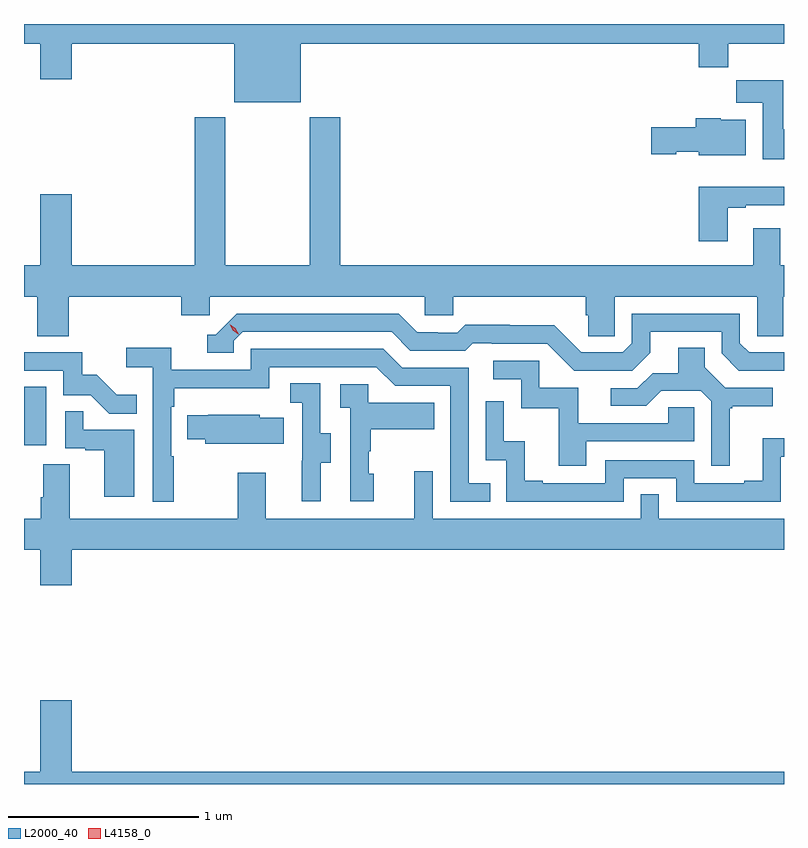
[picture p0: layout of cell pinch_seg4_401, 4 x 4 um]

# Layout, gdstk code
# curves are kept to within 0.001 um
import gdstk
lib = gdstk.Library(unit=1e-6, precision=1e-09)
def R(c, l, rs):  # rectangles x0, y0, x1, y1
    for r in rs: c.add(gdstk.rectangle(r[:2], r[2:], *l))
def P(c, l, *ps):  # polygons
    for p in ps: c.add(gdstk.Polygon(p, *l))
L2000_40 = (2000, 40)
L4158_0 = (4158, 0)

pinch_seg4_401 = lib.new_cell('pinch_seg4_401')
R(pinch_seg4_401, L2000_40, [(980.106,774.726,980.224,775.033)])
P(pinch_seg4_401, L2000_40, [(981.562,776.84),(983.657,776.84),(983.657,776.716),(983.813,776.716),(983.813,776.84),(984.106,776.84),(984.106,776.943),(980.106,776.943),(980.106,776.84),(980.192,776.84),(980.192,776.652),(980.356,776.652),(980.356,776.84),(981.212,776.84),(981.212,776.531),(981.562,776.531)],
  [(984.106,776.388),(984.103,776.388),(984.103,776.647),(983.854,776.647),(983.854,776.528),(983.993,776.528),(983.993,776.232),(984.106,776.232)],
  [(980.342,775.508),(980.933,775.508),(980.933,775.41),(981.084,775.41),(981.084,775.508),(982.215,775.508),(982.215,775.41),(982.365,775.41),(982.365,775.508),(983.063,775.508),(983.063,775.41),(983.077,775.41),(983.077,775.3),(983.214,775.3),(983.214,775.508),(983.964,775.508),(983.964,775.3),(984.103,775.3),(984.103,775.508),(984.106,775.508),(984.106,775.672),(984.085,775.672),(984.085,775.867),(983.945,775.867),(983.945,775.672),(981.77,775.672),(981.77,776.452),(981.61,776.452),(981.61,775.672),(981.165,775.672),(981.165,776.452),(981.005,776.452),(981.005,775.672),(980.356,775.672),(980.356,776.047),(980.192,776.047),(980.192,775.672),(980.106,775.672),(980.106,775.508),(980.177,775.508),(980.177,775.3),(980.342,775.3)],
  [(983.905,776.44),(983.772,776.44),(983.772,776.446),(983.642,776.446),(983.642,776.4),(983.406,776.4),(983.406,776.258),(983.538,776.258),(983.538,776.27),(983.658,776.27),(983.658,776.252),(983.905,776.252)],
  [(983.809,775.977),(983.905,775.977),(983.905,775.989),(984.106,775.989),(984.106,776.086),(983.657,776.086),(983.657,775.8),(983.809,775.8)],
  [(984.106,775.215),(983.922,775.215),(983.874,775.263),(983.874,775.419),(983.304,775.419),(983.304,775.263),(983.256,775.215),(983.04,775.215),(982.898,775.357),(982.662,775.357),(982.662,775.36),(982.429,775.36),(982.387,775.317),(982.284,775.317),(982.284,775.32),(982.177,775.32),(982.078,775.419),(981.225,775.419),(981.114,775.308),(981.071,775.308),(981.071,775.212),(981.21,775.212),(981.21,775.275),(981.258,775.323),(982.041,775.323),(982.14,775.224),(982.429,775.224),(982.468,775.263),(982.567,775.263),(982.567,775.26),(982.86,775.26),(983.001,775.119),(983.307,775.119),(983.401,775.213),(983.401,775.323),(983.778,775.323),(983.778,775.209),(983.868,775.119),(984.106,775.118)],
  [(980.893,774.668),(980.88,774.668),(980.88,774.929),(980.897,774.929),(980.897,775.025),(981.396,775.025),(981.396,775.137),(981.96,775.137),(982.059,775.038),(982.35,775.038),(982.35,774.429),(982.559,774.429),(982.559,774.525),(982.446,774.525),(982.446,775.134),(982.096,775.134),(981.997,775.233),(981.3,775.233),(981.3,775.122),(980.882,775.122),(980.882,775.238),(980.643,775.238),(980.643,775.136),(980.784,775.136),(980.784,774.429),(980.893,774.429)],
  [(983.821,774.921),(983.833,774.921),(983.833,774.932),(984.046,774.932),(984.046,775.029),(983.796,775.029),(983.689,775.136),(983.689,775.238),(983.549,775.238),(983.549,775.106),(983.414,775.106),(983.334,775.026),(983.193,775.026),(983.193,774.933),(983.38,774.933),(983.461,775.014),(983.667,775.014),(983.724,774.957),(983.724,774.618),(983.821,774.618)],
  [(980.699,774.991),(980.595,774.991),(980.488,775.098),(980.412,775.098),(980.412,775.215),(980.106,775.215),(980.106,775.119),(980.313,775.119),(980.313,774.99),(980.457,774.99),(980.555,774.892),(980.699,774.892)],
  [(983.065,774.747),(983.634,774.747),(983.634,774.927),(983.497,774.927),(983.497,774.843),(983.023,774.843),(983.023,775.029),(982.818,775.029),(982.818,775.17),(982.575,775.17),(982.575,775.074),(982.722,775.074),(982.722,774.921),(982.921,774.921),(982.921,774.618),(983.065,774.618)],
  [(981.667,774.634),(981.721,774.634),(981.721,774.789),(981.666,774.789),(981.666,775.052),(981.507,775.052),(981.507,774.949),(981.57,774.949),(981.57,774.645),(981.569,774.645),(981.569,774.432),(981.667,774.432)],
  [(981.946,774.576),(981.921,774.576),(981.921,774.695),(981.931,774.695),(981.931,774.809),(982.265,774.809),(982.265,774.949),(981.918,774.949),(981.918,775.047),(981.771,775.047),(981.771,774.923),(981.822,774.923),(981.822,774.432),(981.946,774.432)],
  [(983.262,774.552),(983.538,774.552),(983.538,774.429),(984.09,774.429),(984.09,774.665),(984.106,774.665),(984.106,774.763),(983.993,774.763),(983.993,774.538),(983.897,774.538),(983.897,774.525),(983.634,774.525),(983.634,774.648),(983.166,774.648),(983.166,774.525),(982.837,774.525),(982.837,774.538),(982.742,774.538),(982.742,774.746),(982.632,774.746),(982.632,774.958),(982.536,774.958),(982.536,774.648),(982.644,774.648),(982.644,774.429),(983.262,774.429)],
  [(980.686,774.807),(980.417,774.807),(980.417,774.905),(980.322,774.905),(980.322,774.711),(980.429,774.711),(980.429,774.699),(980.528,774.699),(980.528,774.456),(980.686,774.456)],
  [(981.473,774.871),(981.348,774.871),(981.348,774.886),(981.076,774.886),(981.076,774.885),(980.965,774.885),(980.965,774.757),(981.059,774.757),(981.059,774.734),(981.473,774.734)],
  [(980.356,774.176),(984.106,774.176),(984.106,774.34),(983.448,774.34),(983.448,774.467),(983.352,774.467),(983.352,774.34),(982.257,774.34),(982.257,774.589),(982.16,774.589),(982.16,774.34),(981.379,774.34),(981.379,774.58),(981.232,774.58),(981.232,774.34),(980.347,774.34),(980.347,774.626),(980.207,774.626),(980.207,774.452),(980.195,774.452),(980.195,774.34),(980.106,774.34),(980.106,774.176),(980.192,774.176),(980.192,773.988),(980.356,773.988)],
  [(984.106,773.008),(980.356,773.008),(980.356,773.383),(980.192,773.383),(980.192,773.008),(980.106,773.008),(980.106,772.943),(984.106,772.943)])
P(pinch_seg4_401, L4158_0, [(981.234,775.31),(981.204,775.33),(981.188,775.362),(981.188,775.362),(981.189,775.362),(981.219,775.343),(981.235,775.31),(981.235,775.31)])

lib.write_gds('pinch_seg4_401.gds')
